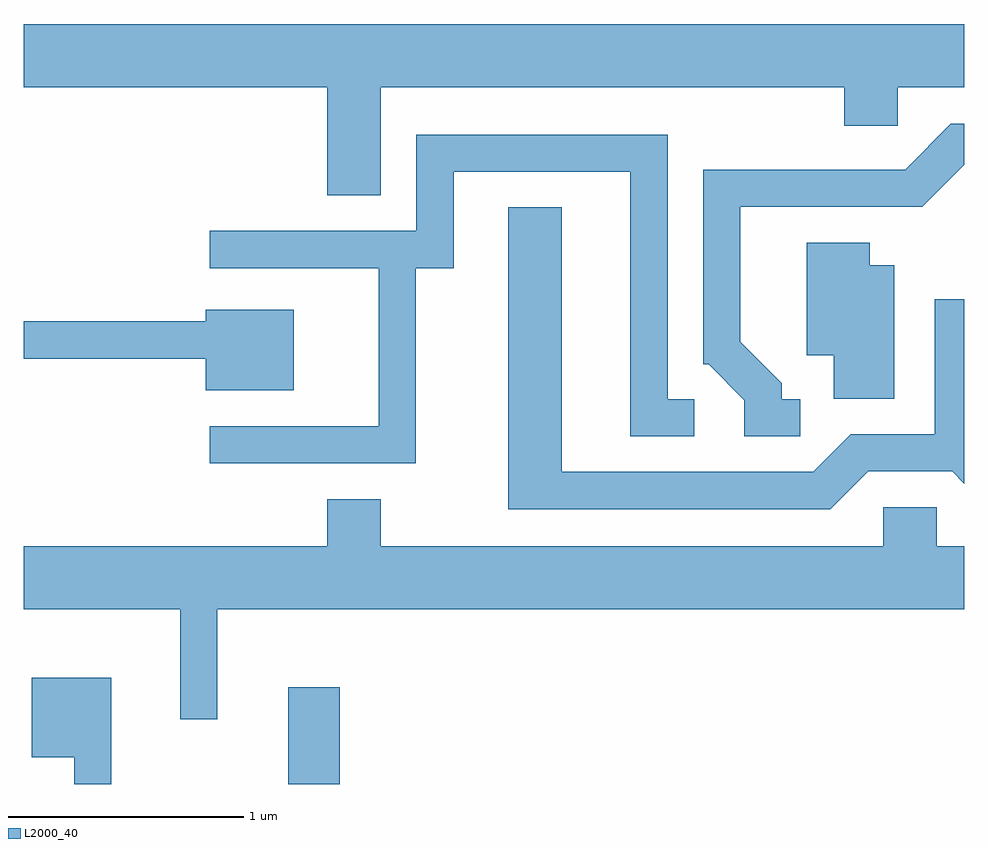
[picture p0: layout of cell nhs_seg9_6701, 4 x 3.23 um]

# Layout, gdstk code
import gdstk
lib = gdstk.Library(unit=1e-6, precision=1e-09)
def R(c, l, rs):  # rectangles x0, y0, x1, y1
    for r in rs: c.add(gdstk.rectangle(r[:2], r[2:], *l))
def P(c, l, *ps):  # polygons
    for p in ps: c.add(gdstk.Polygon(p, *l))
L2000_40 = (2000, 40)

nhs_seg9_6701 = lib.new_cell('nhs_seg9_6701')
R(nhs_seg9_6701, L2000_40, [(384.736,1964.432,384.954,1964.844)])
P(nhs_seg9_6701, L2000_40, [(385.129,1967.396),(387.101,1967.396),(387.101,1967.231),(387.329,1967.231),(387.329,1967.396),(387.611,1967.396),(387.611,1967.664),(383.611,1967.664),(383.611,1967.396),(384.901,1967.396),(384.901,1966.936),(385.129,1966.936)],
  [(386.913,1966.069),(386.834,1966.069),(386.834,1966.137),(386.659,1966.312),(386.659,1966.886),(387.432,1966.886),(387.611,1967.065),(387.611,1967.239),(387.554,1967.239),(387.359,1967.044),(386.501,1967.044),(386.501,1966.216),(386.524,1966.216),(386.676,1966.064),(386.676,1965.911),(386.913,1965.911)],
  [(385.279,1966.626),(385.439,1966.626),(385.439,1967.036),(386.191,1967.036),(386.191,1965.911),(386.463,1965.911),(386.463,1966.069),(386.349,1966.069),(386.349,1967.194),(385.281,1967.194),(385.281,1966.784),(384.403,1966.784),(384.403,1966.626),(385.121,1966.626),(385.121,1965.954),(384.403,1965.954),(384.403,1965.796),(385.279,1965.796)],
  [(387.202,1965.761),(387.559,1965.761),(387.611,1965.709),(387.611,1966.493),(387.486,1966.493),(387.486,1965.919),(387.129,1965.919),(386.969,1965.759),(385.899,1965.759),(385.899,1966.884),(385.671,1966.884),(385.671,1965.601),(387.042,1965.601)],
  [(387.314,1966.639),(387.209,1966.639),(387.209,1966.734),(386.941,1966.734),(386.941,1966.256),(387.056,1966.256),(387.056,1966.071),(387.314,1966.071)],
  [(384.759,1966.449),(384.386,1966.449),(384.386,1966.399),(383.611,1966.399),(383.611,1966.241),(384.386,1966.241),(384.386,1966.106),(384.759,1966.106)],
  [(384.434,1965.176),(387.611,1965.176),(387.611,1965.444),(387.494,1965.444),(387.494,1965.609),(387.266,1965.609),(387.266,1965.444),(385.129,1965.444),(385.129,1965.644),(384.901,1965.644),(384.901,1965.444),(383.611,1965.444),(383.611,1965.176),(384.276,1965.176),(384.276,1964.708),(384.434,1964.708)],
  [(383.984,1964.884),(383.646,1964.884),(383.646,1964.546),(383.826,1964.546),(383.826,1964.432),(383.984,1964.432)])

lib.write_gds('nhs_seg9_6701.gds')
